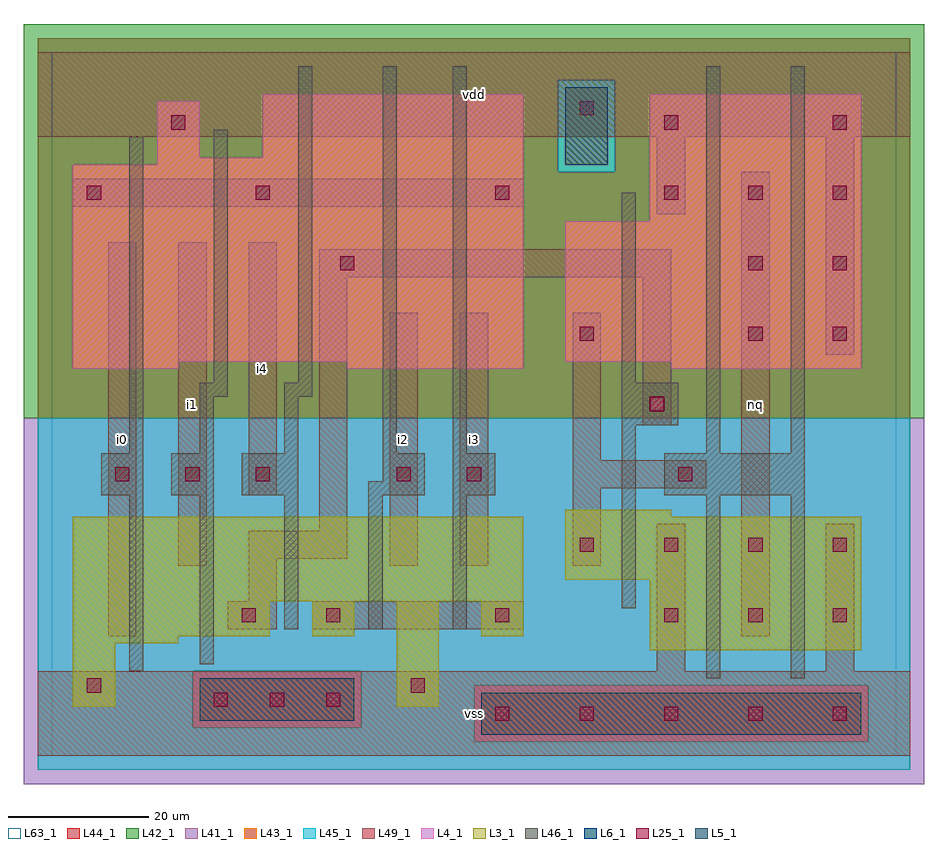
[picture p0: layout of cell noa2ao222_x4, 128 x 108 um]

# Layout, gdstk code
import gdstk
lib = gdstk.Library(unit=1e-6, precision=1e-09)
def R(c, l, rs):  # rectangles x0, y0, x1, y1
    for r in rs: c.add(gdstk.rectangle(r[:2], r[2:], *l))
def A(c, l, x, y, w, h, nx, ny, dx, dy):  # array of equal rectangles
    R(c, l, [(x+i*dx, y+j*dy, x+i*dx+w, y+j*dy+h) for i in range(nx) for j in range(ny)])
L3_1 = (3, 1)
L4_1 = (4, 1)
L5_1 = (5, 1)
L6_1 = (6, 1)
L25_1 = (25, 1)
L41_1 = (41, 1)
L42_1 = (42, 1)
L43_1 = (43, 1)
L44_1 = (44, 1)
L45_1 = (45, 1)
L46_1 = (46, 1)
L49_1 = (49, 1)
L63_1 = (63, 1)

noa2ao222_x4 = lib.new_cell('noa2ao222_x4')
R(noa2ao222_x4, L3_1, [(3,7,9,16), (49,7,55,22), (85,15,115,25), (3,16,18,17), (3,17,31,22), (37,17,43,22), (61,17,67,22), (3,22,67,34), (73,25,115,34), (73,34,88,35)])
R(noa2ao222_x4, L4_1, [(3,55,18,56), (42,55,67,56), (88,55,115,56), (3,56,67,84), (73,56,115,76), (85,76,115,94), (15,84,67,85), (15,85,21,93), (30,85,67,94)])
R(noa2ao222_x4, L5_1, [(73,84,79,95)])
R(noa2ao222_x4, L6_1, [(61,3,115,9), (61,3,115,9), (21,5,43,11), (21,5,43,11)])
A(noa2ao222_x4, L25_1, 63, 5, 2, 2, 5, 1, 12, 0)
A(noa2ao222_x4, L25_1, 23, 7, 2, 2, 3, 1, 8, 0)
A(noa2ao222_x4, L25_1, 39, 19, 2, 2, 3, 1, 24, 0)
A(noa2ao222_x4, L25_1, 75, 29, 2, 2, 4, 1, 12, 0)
A(noa2ao222_x4, L25_1, 9, 39, 2, 2, 3, 1, 10, 0)
A(noa2ao222_x4, L25_1, 87, 79, 2, 2, 3, 1, 12, 0)
R(noa2ao222_x4, L25_1, [(5,9,7,11), (51,9,53,11), (27,19,29,21), (99,19,101,21), (111,19,113,21), (49,39,51,41), (59,39,61,41), (89,39,91,41), (85,49,87,51), (75,59,77,61), (99,59,101,61), (111,59,113,61), (41,69,43,71), (99,69,101,71), (111,69,113,71), (5,79,7,81), (29,79,31,81), (63,79,65,81), (17,89,19,91), (87,89,89,91), (111,89,113,91), (75,91,77,93)])
R(noa2ao222_x4, L41_1, [(-4,-4,124,48)])
R(noa2ao222_x4, L42_1, [(-4,48,124,104)])
R(noa2ao222_x4, L43_1, [(61,3,115,9), (21,5,43,11), (3,7,9,16), (49,7,55,22), (85,15,115,25), (3,16,18,17), (3,17,31,22), (37,17,43,22), (61,17,67,22), (3,22,67,34), (73,25,115,34), (73,34,88,35), (3,55,18,56), (42,55,67,56), (88,55,115,56), (3,56,67,84), (73,56,115,76), (85,76,115,94), (15,84,67,85), (73,84,79,95), (15,85,21,93), (30,85,67,94)])
R(noa2ao222_x4, L44_1, [(60,2,116,10), (20,4,44,12), (-2,48,122,83), (-2,83,72,96), (80,83,122,96), (-2,96,122,102)])
R(noa2ao222_x4, L45_1, [(-2,-2,122,2), (-2,2,60,4), (116,2,122,10), (-2,4,20,12), (44,4,60,10), (44,10,122,12), (-2,12,122,48), (72,83,80,96)])
A(noa2ao222_x4, L46_1, 33, 18, 2, 19, 3, 1, 12, 0)
R(noa2ao222_x4, L46_1, [(93,11,95,37), (105,11,107,37), (11,12,13,37), (21,13,23,37), (81,21,83,47), (7,37,13,43), (17,37,23,43), (27,37,35,43), (45,37,53,39), (57,37,63,43), (87,37,107,43), (47,39,53,43), (11,43,13,88), (21,43,23,51), (33,43,35,51), (47,43,49,98), (57,43,59,98), (93,43,95,98), (105,43,107,98), (81,47,89,53), (21,51,25,53), (33,51,37,53), (23,53,25,89), (35,53,37,98), (81,53,83,80)])
R(noa2ao222_x4, L49_1, [(-2,0,122,12), (86,12,90,33), (110,12,114,33), (8,17,12,73), (98,17,102,83), (25,18,32,22), (37,18,67,22), (28,22,32,28), (18,27,22,73), (48,27,52,63), (58,27,62,63), (74,27,78,38), (28,28,42,32), (38,32,42,68), (28,37,32,73), (74,38,93,42), (74,42,78,63), (84,47,88,68), (110,57,114,88), (38,68,88,72), (86,77,90,88), (3,78,67,82), (-2,88,122,100)])
R(noa2ao222_x4, L63_1, [(0,0,120,100)])
noa2ao222_x4.add(gdstk.Label('i0', (10,45), layer=49, texttype=1))
noa2ao222_x4.add(gdstk.Label('i1', (20,50), layer=49, texttype=1))
noa2ao222_x4.add(gdstk.Label('i4', (30,55), layer=49, texttype=1))
noa2ao222_x4.add(gdstk.Label('vss', (60,6), layer=49, texttype=1))
noa2ao222_x4.add(gdstk.Label('i2', (50,45), layer=49, texttype=1))
noa2ao222_x4.add(gdstk.Label('i3', (60,45), layer=49, texttype=1))
noa2ao222_x4.add(gdstk.Label('vdd', (60,94), layer=49, texttype=1))
noa2ao222_x4.add(gdstk.Label('nq', (100,50), layer=49, texttype=1))

lib.write_gds('noa2ao222_x4.gds')
